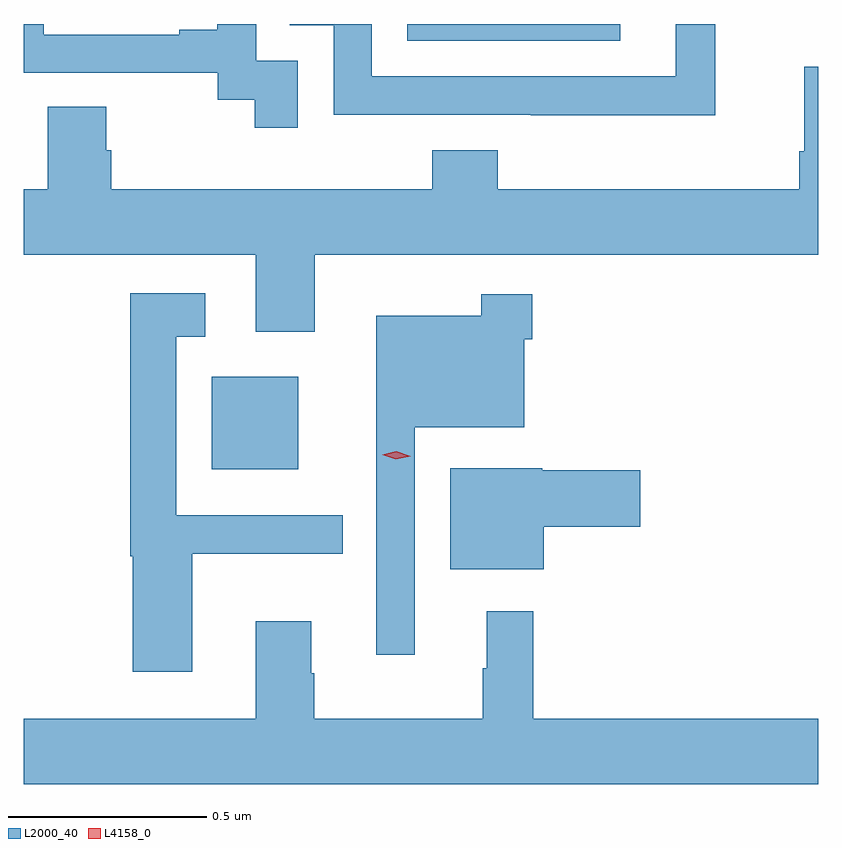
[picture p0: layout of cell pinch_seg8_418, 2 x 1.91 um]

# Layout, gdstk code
import gdstk
lib = gdstk.Library(unit=1e-6, precision=1e-09)
def R(c, l, rs):  # rectangles x0, y0, x1, y1
    for r in rs: c.add(gdstk.rectangle(r[:2], r[2:], *l))
def P(c, l, *ps):  # polygons
    for p in ps: c.add(gdstk.Polygon(p, *l))
L2000_40 = (2000, 40)
L4158_0 = (4158, 0)

pinch_seg8_418 = lib.new_cell('pinch_seg8_418')
R(pinch_seg8_418, L2000_40, [(588.452,1105.304,588.67,1105.537), (588.945,1106.382,589.48,1106.424)])
P(pinch_seg8_418, L2000_40, [(589.719,1106.424),(589.62,1106.424),(589.62,1106.292),(588.855,1106.292),(588.855,1106.424),(588.649,1106.424),(588.649,1106.421),(588.759,1106.421),(588.759,1106.196),(589.255,1106.196),(589.255,1106.195),(589.719,1106.195)],
  [(588.669,1106.331),(588.564,1106.331),(588.564,1106.424),(588.467,1106.424),(588.467,1106.41),(588.371,1106.41),(588.371,1106.397),(588.03,1106.397),(588.03,1106.424),(587.979,1106.424),(587.979,1106.301),(588.468,1106.301),(588.468,1106.233),(588.561,1106.233),(588.561,1106.163),(588.669,1106.163)],
  [(588.712,1105.844),(589.979,1105.844),(589.979,1106.317),(589.943,1106.317),(589.943,1106.104),(589.931,1106.104),(589.931,1106.008),(589.172,1106.008),(589.172,1106.107),(589.007,1106.107),(589.007,1106.008),(588.2,1106.008),(588.2,1106.106),(588.187,1106.106),(588.187,1106.216),(588.04,1106.216),(588.04,1106.008),(587.979,1106.008),(587.979,1105.844),(588.563,1105.844),(588.563,1105.65),(588.712,1105.65)],
  [(588.403,1105.091),(588.782,1105.091),(588.782,1105.188),(588.363,1105.188),(588.363,1105.637),(588.436,1105.637),(588.436,1105.747),(588.247,1105.747),(588.247,1105.085),(588.254,1105.085),(588.254,1104.795),(588.403,1104.795)],
  [(588.963,1105.409),(589.239,1105.409),(589.239,1105.631),(589.259,1105.631),(589.259,1105.744),(589.131,1105.744),(589.131,1105.69),(588.866,1105.69),(588.866,1105.313),(588.867,1105.313),(588.867,1104.837),(588.963,1104.837)],
  [(589.288,1105.159),(589.531,1105.159),(589.531,1105.301),(589.284,1105.301),(589.284,1105.306),(589.052,1105.306),(589.052,1105.052),(589.288,1105.052)],
  [(589.979,1104.676),(589.262,1104.676),(589.262,1104.946),(589.145,1104.946),(589.145,1104.803),(589.134,1104.803),(589.134,1104.676),(588.711,1104.676),(588.711,1104.791),(588.703,1104.791),(588.703,1104.922),(588.563,1104.922),(588.563,1104.676),(587.979,1104.676),(587.979,1104.512),(589.979,1104.512)])
P(pinch_seg8_418, L4158_0, [(588.916,1105.329),(588.881,1105.34),(588.881,1105.34),(588.881,1105.34),(588.917,1105.349),(588.953,1105.337),(588.953,1105.337),(588.953,1105.337)])

lib.write_gds('pinch_seg8_418.gds')
